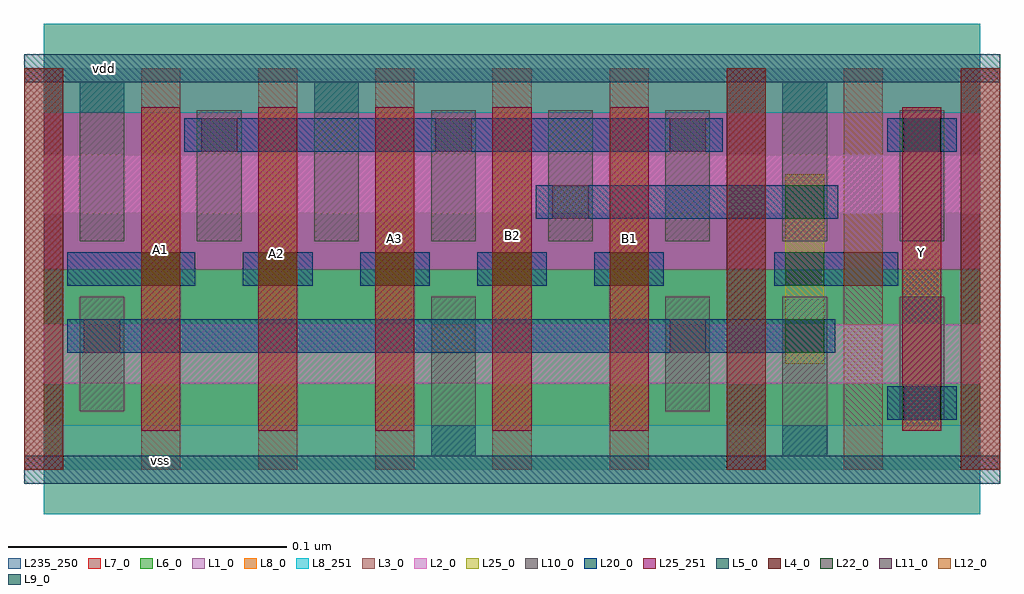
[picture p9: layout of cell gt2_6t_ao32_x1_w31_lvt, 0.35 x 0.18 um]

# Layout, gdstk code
import gdstk
lib = gdstk.Library(unit=1e-6, precision=5e-10)
def R(c, l, rs):  # rectangles x0, y0, x1, y1
    for r in rs: c.add(gdstk.rectangle(r[:2], r[2:], *l))
def A(c, l, x, y, w, h, nx, ny, dx, dy):  # array of equal rectangles
    R(c, l, [(x+i*dx, y+j*dy, x+i*dx+w, y+j*dy+h) for i in range(nx) for j in range(ny)])
L1_0 = (1, 0)
L2_0 = (2, 0)
L3_0 = (3, 0)
L4_0 = (4, 0)
L5_0 = (5, 0)
L6_0 = (6, 0)
L7_0 = (7, 0)
L8_0 = (8, 0)
L8_251 = (8, 251)
L9_0 = (9, 0)
L10_0 = (10, 0)
L11_0 = (11, 0)
L12_0 = (12, 0)
L20_0 = (20, 0)
L22_0 = (22, 0)
L25_0 = (25, 0)
L25_251 = (25, 251)
L235_250 = (235, 250)

gt2_6t_ao32_x1_w31_lvt = lib.new_cell('gt2_6t_ao32_x1_w31_lvt')
R(gt2_6t_ao32_x1_w31_lvt, L1_0, [(0,0.072,0.336,0.144)])
R(gt2_6t_ao32_x1_w31_lvt, L2_0, [(0,0.031,0.336,0.052), (0,0.092,0.336,0.113)])
A(gt2_6t_ao32_x1_w31_lvt, L3_0, -0.007, 0, 0.014, 0.144, 9, 1, 0.042, 0)
R(gt2_6t_ao32_x1_w31_lvt, L4_0, [(-0.007,0,0.007,0.144), (0.245,0,0.259,0.144), (0.329,0,0.343,0.144)])
R(gt2_6t_ao32_x1_w31_lvt, L5_0, [(-0.007,-0.005,0.343,0.005), (-0.007,0.139,0.343,0.149)])
R(gt2_6t_ao32_x1_w31_lvt, L6_0, [(0,0,0.336,0.072)])
R(gt2_6t_ao32_x1_w31_lvt, L7_0, [(0,0.072,0.336,0.144)])
R(gt2_6t_ao32_x1_w31_lvt, L8_0, [(0,-0.016,0.336,0.016), (0,0.128,0.336,0.16)])
R(gt2_6t_ao32_x1_w31_lvt, L8_251, [(0,-0.016,0.336,0.016), (0,0.128,0.336,0.16)])
R(gt2_6t_ao32_x1_w31_lvt, L9_0, [(0.139,0.005,0.155,0.016), (0.265,0.005,0.281,0.016), (0.013,0.128,0.029,0.139), (0.097,0.128,0.113,0.139), (0.265,0.128,0.281,0.139)])
A(gt2_6t_ao32_x1_w31_lvt, L10_0, 0.139, 0.082, 0.016, 0.047, 3, 1, 0.042, 0)
R(gt2_6t_ao32_x1_w31_lvt, L10_0, [(0.139,0.005,0.155,0.062), (0.265,0.005,0.281,0.062), (0.307,0.018,0.323,0.062), (0.013,0.021,0.029,0.062), (0.223,0.021,0.239,0.062), (0.013,0.082,0.029,0.139), (0.055,0.082,0.071,0.129), (0.097,0.082,0.113,0.139), (0.265,0.082,0.281,0.139), (0.307,0.082,0.323,0.129)])
A(gt2_6t_ao32_x1_w31_lvt, L11_0, 0.0565, 0.114, 0.013, 0.012, 4, 1, 0.084, 0)
R(gt2_6t_ao32_x1_w31_lvt, L11_0, [(0.3085,0.018,0.3215,0.03), (0.0145,0.042,0.0275,0.054), (0.2245,0.042,0.2375,0.054), (0.1825,0.09,0.1955,0.102)])
A(gt2_6t_ao32_x1_w31_lvt, L12_0, 0.035, 0.066, 0.014, 0.012, 5, 1, 0.042, 0)
R(gt2_6t_ao32_x1_w31_lvt, L12_0, [(0.287,0.066,0.301,0.078)])
A(gt2_6t_ao32_x1_w31_lvt, L20_0, 0.0715, 0.066, 0.025, 0.012, 4, 1, 0.042, 0)
R(gt2_6t_ao32_x1_w31_lvt, L20_0, [(0.3025,0.018,0.3275,0.03), (0.0085,0.042,0.284,0.054), (0.0085,0.066,0.0545,0.078), (0.262,0.066,0.3065,0.078), (0.1765,0.09,0.285,0.102), (0.0505,0.114,0.2435,0.126), (0.3025,0.114,0.3275,0.126)])
A(gt2_6t_ao32_x1_w31_lvt, L22_0, 0.266, 0.042, 0.014, 0.012, 1, 3, 0, 0.024)
A(gt2_6t_ao32_x1_w31_lvt, L22_0, 0.035, 0.066, 0.014, 0.012, 5, 1, 0.042, 0)
R(gt2_6t_ao32_x1_w31_lvt, L22_0, [(0.308,0.018,0.322,0.03), (0.308,0.114,0.322,0.126)])
A(gt2_6t_ao32_x1_w31_lvt, L25_0, 0.035, 0.014, 0.014, 0.116, 5, 1, 0.042, 0)
R(gt2_6t_ao32_x1_w31_lvt, L25_0, [(0.308,0.014,0.322,0.13), (0.266,0.038,0.28,0.106)])
A(gt2_6t_ao32_x1_w31_lvt, L25_251, 0.035, 0.014, 0.014, 0.116, 5, 1, 0.042, 0)
R(gt2_6t_ao32_x1_w31_lvt, L25_251, [(0.308,0.014,0.322,0.13)])
R(gt2_6t_ao32_x1_w31_lvt, L235_250, [(0,0,0.336,0.144)])
gt2_6t_ao32_x1_w31_lvt.add(gdstk.Label('vss', (0.042,0.0035), layer=8, texttype=251))
gt2_6t_ao32_x1_w31_lvt.add(gdstk.Label('vdd', (0.022,0.144), layer=8, texttype=251))
gt2_6t_ao32_x1_w31_lvt.add(gdstk.Label('B1', (0.21,0.083), layer=25, texttype=251))
gt2_6t_ao32_x1_w31_lvt.add(gdstk.Label('A3', (0.126,0.083), layer=25, texttype=251))
gt2_6t_ao32_x1_w31_lvt.add(gdstk.Label('A1', (0.042,0.079), layer=25, texttype=251))
gt2_6t_ao32_x1_w31_lvt.add(gdstk.Label('A2', (0.0835,0.0775), layer=25, texttype=251))
gt2_6t_ao32_x1_w31_lvt.add(gdstk.Label('B2', (0.168,0.084), layer=25, texttype=251))
gt2_6t_ao32_x1_w31_lvt.add(gdstk.Label('Y', (0.315,0.078), layer=25, texttype=251))

lib.write_gds('gt2_6t_ao32_x1_w31_lvt.gds')
